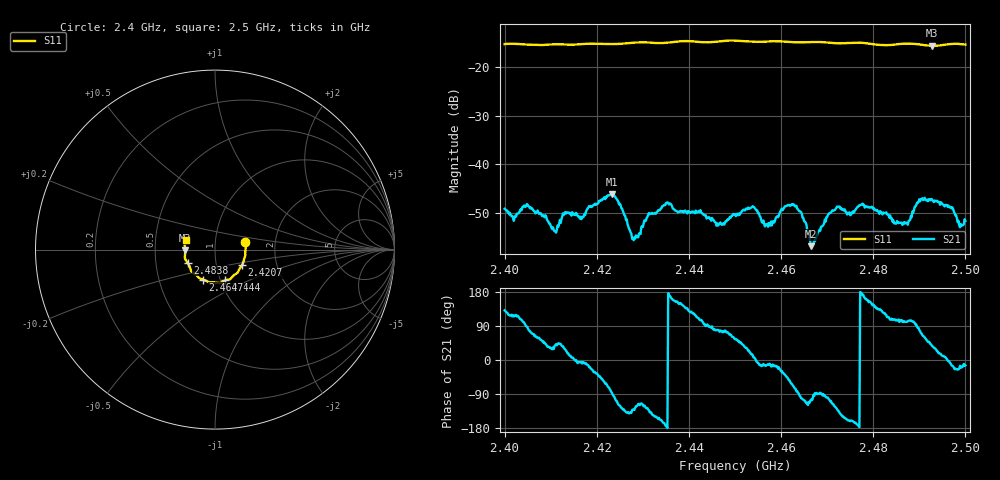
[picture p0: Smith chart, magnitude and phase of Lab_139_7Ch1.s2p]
# Hz S RI R 50
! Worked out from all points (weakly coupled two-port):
!   601 points, 2.4 GHz to 2.5 GHz, reference 50 ohm
!   highest |S21| = -46.05 dB at 2.4233 GHz (marker M1); lowest = -56.8 dB at 2.4665 GHz (marker M2)
!   lowest |S11| = -15.6 dB at 2.4928 GHz (marker M3), VSWR 1.40, Z = 35.8 - j0.366 ohm
!   |S11| at or under -10 dB: start of sweep to end of sweep
!   S12 and S22 are empty: the file has one direction only
!   S11 on the Smith chart (normalised r, x): 2.4 GHz: 1.40, +0.12; 2.4207 GHz: 1.33, -0.24; 2.444 GHz: 1.06, -0.37; 2.4647 GHz: 0.83, -0.29; 2.4838 GHz: 0.73, -0.11; 2.5 GHz: 0.72, +0.08
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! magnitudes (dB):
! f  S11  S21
! 2.4 GHz  -15.3  -49.1
! 2.4052 GHz  -15.4  -48.6
! 2.4108 GHz  -15.3  -53.7
! 2.4132 GHz  -15.3  -49.8
! 2.4167 GHz  -15.2  -51.2
! 2.4207 GHz  -15.2  -47.5
! 2.4233 GHz  -15.2  -46.1
! 2.4282 GHz  -15.0  -55.0
! 2.4333 GHz  -15.0  -49.4
! 2.444 GHz  -14.9  -51.0
! 2.45 GHz  -14.5  -50.2
! 2.4572 GHz  -14.7  -52.8
! 2.4623 GHz  -14.8  -48.2
! 2.4647 GHz  -14.9  -51.0
! 2.4665 GHz  -14.8  -56.8
! 2.4667 GHz  -14.8  -56.7
! 2.4722 GHz  -15.1  -48.7
! 2.4833 GHz  -15.5  -50.5
! 2.4838 GHz  -15.4  -51.1
! 2.4873 GHz  -15.2  -52.1
! 2.4928 GHz  -15.6  -47.3
! 2.5 GHz  -15.4  -51.6
